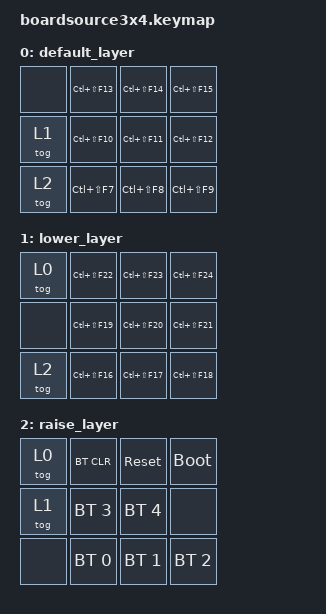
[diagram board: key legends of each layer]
/*
 * Copyright (c) 2020 The ZMK Contributors
 *
 * SPDX-License-Identifier: MIT
 */

#include <behaviors.dtsi>
#include <dt-bindings/zmk/keys.h>
#include <dt-bindings/zmk/bt.h>

/ {
    keymap {
        compatible = "zmk,keymap";

        default_layer {

            bindings = <
    &none  &kp LC(LS(F13)) &kp LC(LS(F14)) &kp LC(LS(F15))
    &tog 1 &kp LC(LS(F10)) &kp LC(LS(F11)) &kp LC(LS(F12))
    &tog 2 &kp LC(LS(F7))  &kp LC(LS(F8))  &kp LC(LS(F9))
            >;
        };

        lower_layer {
            bindings = <
    &tog 0 &kp LC(LS(F22)) &kp LC(LS(F23)) &kp LC(LS(F24))
    &none  &kp LC(LS(F19)) &kp LC(LS(F20)) &kp LC(LS(F21))
    &tog 2 &kp LC(LS(F16)) &kp LC(LS(F17)) &kp LC(LS(F18))
            >;
        };

        raise_layer {
            bindings = <
    &tog 0 &bt BT_CLR   &sys_reset   &bootloader
    &tog 1 &bt BT_SEL 3 &bt BT_SEL 4 &none
    &none  &bt BT_SEL 0 &bt BT_SEL 1 &bt BT_SEL 2
            >;
        };
    };
};
